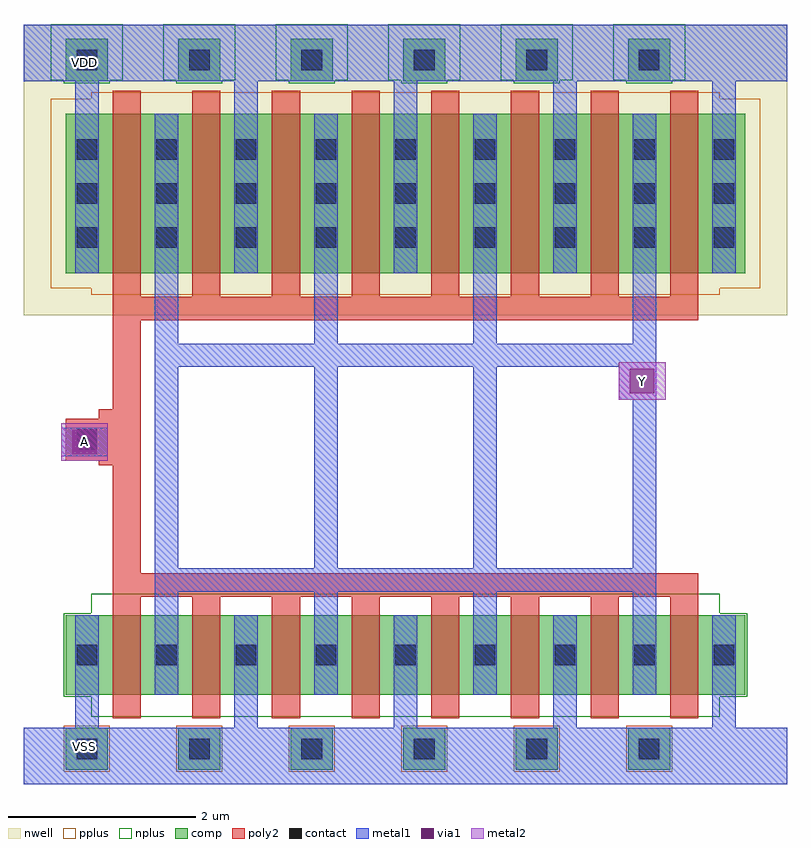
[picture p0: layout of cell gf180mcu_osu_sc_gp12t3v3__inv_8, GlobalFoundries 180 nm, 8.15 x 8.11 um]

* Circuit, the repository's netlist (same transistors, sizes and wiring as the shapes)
* Copyright 2022 Google LLC
*
* Licensed under the Apache License, Version 2.0 (the "License");
* you may not use this file except in compliance with the License.
* You may obtain a copy of the License at
*
*      http://www.apache.org/licenses/LICENSE-2.0
*
* Unless required by applicable law or agreed to in writing, software
* distributed under the License is distributed on an "AS IS" BASIS,
* WITHOUT WARRANTIES OR CONDITIONS OF ANY KIND, either express or implied.
* See the License for the specific language governing permissions and
* limitations under the License.

* NGSPICE file created from gf180mcu_osu_sc_gp12t3v3__inv_8.ext - technology: gf180mcuC

.subckt gf180mcu_osu_sc_gp12t3v3__inv_8 A Y VDD VSS
X0 VDD A Y VDD pfet_03p3 w=1.7u l=0.3u
X1 Y A VDD VDD pfet_03p3 w=1.7u l=0.3u
X2 Y A VDD VDD pfet_03p3 w=1.7u l=0.3u
X3 VDD A Y VDD pfet_03p3 w=1.7u l=0.3u
X4 VSS A Y VSS nfet_03p3 w=0.85u l=0.3u
X5 Y A VDD VDD pfet_03p3 w=1.7u l=0.3u
X6 Y A VSS VSS nfet_03p3 w=0.85u l=0.3u
X7 Y A VSS VSS nfet_03p3 w=0.85u l=0.3u
X8 Y A VSS VSS nfet_03p3 w=0.85u l=0.3u
X9 Y A VSS VSS nfet_03p3 w=0.85u l=0.3u
X10 VSS A Y VSS nfet_03p3 w=0.85u l=0.3u
X11 VSS A Y VSS nfet_03p3 w=0.85u l=0.3u
X12 VSS A Y VSS nfet_03p3 w=0.85u l=0.3u
X13 VDD A Y VDD pfet_03p3 w=1.7u l=0.3u
X14 Y A VDD VDD pfet_03p3 w=1.7u l=0.3u
X15 VDD A Y VDD pfet_03p3 w=1.7u l=0.3u
.ends

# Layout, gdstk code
import gdstk
lib = gdstk.Library(unit=1e-6, precision=1e-09)
def R(c, l, rs):  # rectangles x0, y0, x1, y1
    for r in rs: c.add(gdstk.rectangle(r[:2], r[2:], *l))
def A(c, l, x, y, w, h, nx, ny, dx, dy):  # array of equal rectangles
    R(c, l, [(x+i*dx, y+j*dy, x+i*dx+w, y+j*dy+h) for i in range(nx) for j in range(ny)])
nwell = (21, 0)
comp = (22, 0)
poly2 = (30, 0)
pplus = (31, 0)
nplus = (32, 0)
contact = (33, 0)
metal1 = (34, 0)
via1 = (35, 0)
metal2 = (36, 0)

gf180mcu_osu_sc_gp12t3v3 = lib.new_cell('gf180mcu_osu_sc_gp12t3v3__inv_8')
R(gf180mcu_osu_sc_gp12t3v3, nwell, [(0,5,8.15,8.1)])
A(gf180mcu_osu_sc_gp12t3v3, comp, 0.45, 0.15, 0.45, 0.45, 6, 2, 1.2, 7.35)
R(gf180mcu_osu_sc_gp12t3v3, comp, [(0.45,0.95,7.7,1.8), (0.45,5.45,7.7,7.15)])
A(gf180mcu_osu_sc_gp12t3v3, poly2, 0.95, 0.7, 0.3, 1.3, 8, 1, 0.85, 0)
A(gf180mcu_osu_sc_gp12t3v3, poly2, 0.95, 5.2, 0.3, 2.2, 8, 1, 0.85, 0)
R(gf180mcu_osu_sc_gp12t3v3, poly2, [(0.95,2,7.2,2.25), (0.95,2.25,1.25,3.4), (0.8,3.4,1.25,3.45), (0.45,3.45,1.25,3.9), (0.8,3.9,1.25,4), (0.95,4,1.25,4.95), (0.95,4.95,7.2,5.2)])
A(gf180mcu_osu_sc_gp12t3v3, pplus, 0.43, 0.13, 0.49, 0.49, 6, 1, 1.2, 0)
R(gf180mcu_osu_sc_gp12t3v3, pplus, [(0.72,5.22,7.43,5.29), (0.29,5.29,7.86,7.31), (0.72,7.31,7.43,7.38)])
A(gf180mcu_osu_sc_gp12t3v3, nplus, 0.43, 7.48, 0.49, 0.03, 6, 1, 1.2, 0)
A(gf180mcu_osu_sc_gp12t3v3, nplus, 0.29, 7.51, 0.77, 0.6, 6, 1, 1.2, 0)
R(gf180mcu_osu_sc_gp12t3v3, nplus, [(0.72,0.72,7.43,0.93), (0.43,0.93,7.72,1.82), (0.72,1.82,7.43,2.03)])
A(gf180mcu_osu_sc_gp12t3v3, contact, 0.565, 0.265, 0.22, 0.22, 6, 2, 1.2, 7.35)
A(gf180mcu_osu_sc_gp12t3v3, contact, 0.565, 1.265, 0.22, 0.22, 9, 2, 0.85, 4.455)
A(gf180mcu_osu_sc_gp12t3v3, contact, 0.565, 6.19, 0.22, 0.22, 9, 2, 0.85, 0.47)
R(gf180mcu_osu_sc_gp12t3v3, contact, [(0.565,3.565,0.785,3.785)])
A(gf180mcu_osu_sc_gp12t3v3, metal1, 0.55, 0.6, 0.25, 1.2, 5, 1, 1.7, 0)
A(gf180mcu_osu_sc_gp12t3v3, metal1, 1.4, 0.95, 0.25, 1.1, 4, 1, 1.7, 0)
A(gf180mcu_osu_sc_gp12t3v3, metal1, 1.4, 2.3, 0.25, 2.15, 3, 1, 1.7, 0)
A(gf180mcu_osu_sc_gp12t3v3, metal1, 1.4, 4.7, 0.25, 2.45, 4, 1, 1.7, 0)
A(gf180mcu_osu_sc_gp12t3v3, metal1, 0.55, 5.45, 0.25, 2.05, 5, 1, 1.7, 0)
R(gf180mcu_osu_sc_gp12t3v3, metal1, [(0,0,8.15,0.6), (1.4,2.05,6.75,2.3), (6.5,2.3,6.75,4.1), (0.4,3.5,0.9,3.8), (6.35,4.1,6.75,4.45), (1.4,4.45,6.75,4.7), (0,7.5,8.15,8.1)])
R(gf180mcu_osu_sc_gp12t3v3, via1, [(0.52,3.52,0.78,3.78), (6.47,4.17,6.73,4.43)])
R(gf180mcu_osu_sc_gp12t3v3, metal2, [(0.4,3.45,0.9,3.85), (6.35,4.1,6.85,4.5)])
gf180mcu_osu_sc_gp12t3v3.add(gdstk.Label('VDD', (0.65,7.7), layer=34, texttype=0))
gf180mcu_osu_sc_gp12t3v3.add(gdstk.Label('VSS', (0.65,0.4), layer=34, texttype=0))
gf180mcu_osu_sc_gp12t3v3.add(gdstk.Label('A', (0.65,3.65), layer=36, texttype=10))
gf180mcu_osu_sc_gp12t3v3.add(gdstk.Label('Y', (6.6,4.3), layer=36, texttype=10))

lib.write_gds('gf180mcu_osu_sc_gp12t3v3__inv_8.gds')
